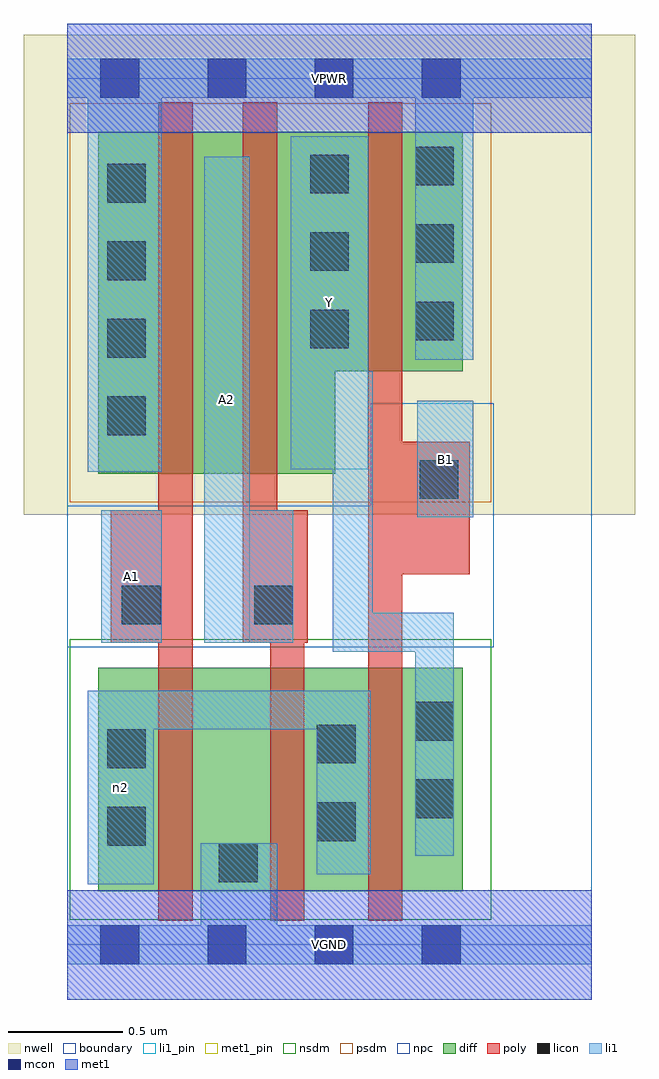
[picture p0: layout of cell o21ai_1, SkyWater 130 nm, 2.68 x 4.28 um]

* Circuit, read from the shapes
.subckt o21ai_1 A1 A2 B1 VGND VPWR Y n2
XM1 VGND A1 n2 VSUBS sky130_fd_pr__nfet_01v8 w=0.98 l=0.15
XM2 n2 A2 VGND VSUBS sky130_fd_pr__nfet_01v8 w=0.98 l=0.15
XM3 Y B1 n2 VSUBS sky130_fd_pr__nfet_01v8 w=0.98 l=0.15
XM4 n1 A1 VPWR n3 sky130_fd_pr__pfet_01v8 w=1.5 l=0.15
XM5 Y A2 n1 n3 sky130_fd_pr__pfet_01v8 w=1.5 l=0.15
XM6 VPWR B1 Y n3 sky130_fd_pr__pfet_01v8 w=1.05 l=0.15
.ends

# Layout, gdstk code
import gdstk
lib = gdstk.Library(unit=1e-6, precision=1e-09)
def R(c, l, rs):  # rectangles x0, y0, x1, y1
    for r in rs: c.add(gdstk.rectangle(r[:2], r[2:], *l))
def A(c, l, x, y, w, h, nx, ny, dx, dy):  # array of equal rectangles
    R(c, l, [(x+i*dx, y+j*dy, x+i*dx+w, y+j*dy+h) for i in range(nx) for j in range(ny)])
nwell = (64, 20)
diff = (65, 20)
poly = (66, 20)
licon = (66, 44)
li1_pin = (67, 16)
li1 = (67, 20)
mcon = (67, 44)
met1_pin = (68, 16)
met1 = (68, 20)
nsdm = (93, 44)
psdm = (94, 20)
npc = (95, 20)
boundary = (235, 4)

o21ai_1 = lib.new_cell('o21ai_1')
R(o21ai_1, nwell, [(-0.19,1.885,2.49,3.99), (0,1.885,2.3,3.99)])
R(o21ai_1, diff, [(0.135,0.235,1.735,1.215), (0.135,2.065,1.175,3.565), (0.135,2.515,1.735,3.565)])
R(o21ai_1, poly, [(0.4,0.105,0.55,3.695), (0.89,0.105,1.04,1.905), (1.32,0.105,1.47,3.695), (0.19,1.325,0.55,1.905), (0.77,1.325,0.92,3.695), (0.77,1.325,1.055,1.905), (1.32,1.625,1.765,2.205)])
A(o21ai_1, licon, 0.175, 2.235, 0.17, 0.17, 1, 4, 0, 0.34)
A(o21ai_1, licon, 1.065, 2.615, 0.17, 0.17, 1, 3, 0, 0.34)
A(o21ai_1, licon, 1.525, 2.65, 0.17, 0.17, 1, 3, 0, 0.34)
R(o21ai_1, licon, [(0.665,0.275,0.835,0.445), (0.175,0.435,0.345,0.605), (1.095,0.455,1.265,0.625), (1.525,0.555,1.695,0.725), (0.175,0.775,0.345,0.945), (1.095,0.795,1.265,0.965), (1.525,0.895,1.695,1.065), (0.24,1.405,0.41,1.575), (0.82,1.405,0.99,1.575), (1.545,1.955,1.715,2.125)])
R(o21ai_1, li1_pin, [(0.15,1.325,0.415,1.905), (0.6,1.325,0.8,3.455), (1.535,1.875,1.78,2.385), (0.98,2.085,1.32,3.545)])
R(o21ai_1, li1, [(0,-0.085,2.3,0.085), (0.585,-0.085,0.92,0.445), (0.09,0.265,0.38,1.115), (1.095,0.31,1.33,1.115), (1.525,0.39,1.695,1.455), (0.09,0.945,1.33,1.115), (1.165,1.285,1.34,2.515), (1.165,1.285,1.695,1.455), (0.15,1.325,0.415,1.905), (0.6,1.325,0.8,3.455), (0.6,1.325,0.99,1.905), (1.535,1.875,1.78,2.385), (0.09,2.075,0.415,3.885), (0.98,2.085,1.32,3.545), (1.525,2.565,1.78,3.885), (0,3.715,2.3,3.885)])
A(o21ai_1, mcon, 0.145, -0.085, 0.17, 0.17, 4, 2, 0.47, 3.8)
R(o21ai_1, met1_pin, [(0,-0.24,2.3,0.24), (0,3.56,2.3,4.04)])
R(o21ai_1, met1, [(0,-0.24,2.3,0.24), (0,3.56,2.3,4.04)])
R(o21ai_1, nsdm, [(0.01,0.11,1.86,1.34)])
R(o21ai_1, psdm, [(0.01,1.94,1.86,3.69)])
R(o21ai_1, npc, [(0,1.305,1.87,1.925), (1.33,1.305,1.87,2.375)])
R(o21ai_1, boundary, [(0,0,2.3,3.8)])
o21ai_1.add(gdstk.Label('A1', (0.282,1.615), layer=67, texttype=5))
o21ai_1.add(gdstk.Label('A2', (0.7,2.39), layer=67, texttype=5))
o21ai_1.add(gdstk.Label('B1', (1.657,2.13), layer=67, texttype=5))
o21ai_1.add(gdstk.Label('Y', (1.15,2.815), layer=67, texttype=5))
o21ai_1.add(gdstk.Label('n2', (0.235,0.69), layer=67, texttype=5))
o21ai_1.add(gdstk.Label('VPWR', (1.15,3.8), layer=68, texttype=5))
o21ai_1.add(gdstk.Label('VGND', (1.15,0), layer=68, texttype=5))
o21ai_1.add(gdstk.Label('A1', (0.282,1.615), layer=67, texttype=16))
o21ai_1.add(gdstk.Label('A2', (0.7,2.39), layer=67, texttype=16))
o21ai_1.add(gdstk.Label('B1', (1.657,2.13), layer=67, texttype=16))
o21ai_1.add(gdstk.Label('Y', (1.15,2.815), layer=67, texttype=16))
o21ai_1.add(gdstk.Label('VPWR', (1.15,3.8), layer=68, texttype=16))
o21ai_1.add(gdstk.Label('VGND', (1.15,0), layer=68, texttype=16))

lib.write_gds('o21ai_1.gds')
